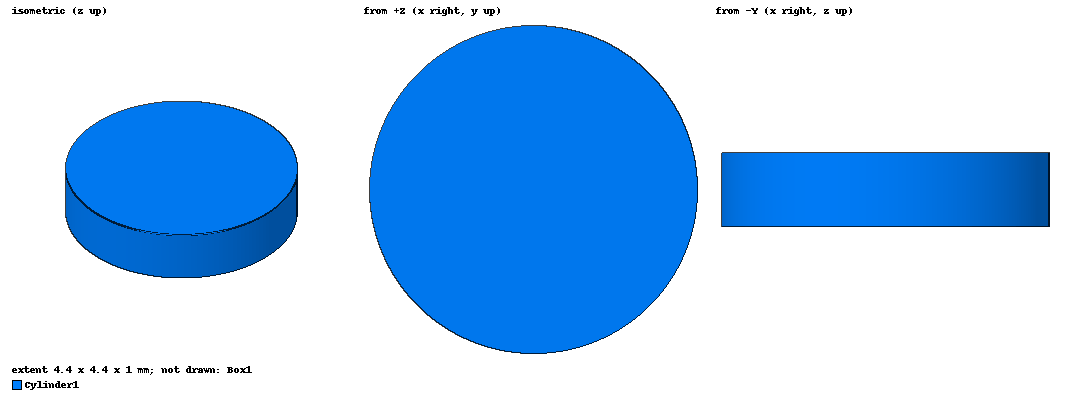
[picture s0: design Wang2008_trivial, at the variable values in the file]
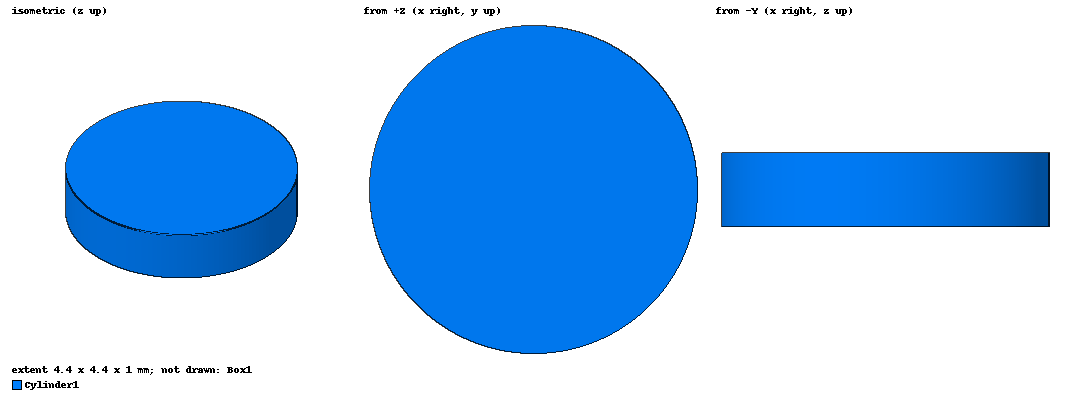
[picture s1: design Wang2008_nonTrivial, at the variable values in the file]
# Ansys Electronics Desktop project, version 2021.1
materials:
  YIG: permittivity=15 permeability{Component1=14 Component2="0 + 12.4i" Component3=0 Component4="0 - 12.4i" Component5=14 Component6=0 Component7=0 Component8=0 Component9=1}
  vacuum: permittivity=1
  YIG_noH: permittivity=15 permeability=1

design Wang2008_trivial (HFSS, Eigenmode, model units mm)
options: Save_Adaptive_support_files
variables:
  a = 20mm
  cylRad = 0.11*a
  h = a*0.05
  px = 0deg
  py = 0deg
  c = 300000000
  aa = a
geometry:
  Cylinder1 [YIG_noH] = cylinder(axis=Z, base_centre=(0mm, 0mm, -h/2), radius=cylRad, height=h)
  Box1 [vacuum] = box(corner=(-a/2, -a/2, -h/2), size=(a, a, h))
  Rectangle1 [non-model] = rectangle(corner=(-a/2, -a/2, 0mm), x_size=a, y_size=a)
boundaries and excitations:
  LatticePair1: Lattice Pair Faces=Box1.face(+x, -x) CoordSysVector{Box1.vertex(1 of 8) -> Box1.vertex(6 of 8)} PhaseDelay=InputPhaseDelay Phase=px
  LatticePair2: Lattice Pair Faces=Box1.face(-y, +y) CoordSysVector{Box1.vertex(4 of 8) -> Box1.vertex(7 of 8)} ReverseV PhaseDelay=InputPhaseDelay Phase=py
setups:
  Setup1: HfssEigen MinimumFrequency=6GHz NumModes=3 MaxDeltaFreq=1 ConvergeOnRealFreq=true MaximumPasses=15 MinimumPasses=4 MinimumConvergedPasses=2 PercentRefinement=50 BasisOrder=1
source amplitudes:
  #-10:1: 1 0deg
  #-10:2, #-10:3: 0 0deg
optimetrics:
  Full BZ: Parametric disabled Sim._Setups=[Setup1]
    sweep px: LIN -180deg 180deg 20deg
    sweep py: LIN -180deg 180deg 20deg
  Band Structure: Parametric Sim._Setups=[Setup1]
    sweep px: 0deg
    sweep py: 0deg
    table edits: add(20deg, 0deg) add(40deg, 0deg) add(60deg, 0deg) add(80deg, 0deg) add(100deg, 0deg) add(120deg, 0deg) add(140deg, 0deg) add(160deg, 0deg) add(180deg, 0deg) add(180deg, 0deg) add(180deg, 20deg) add(180deg, 40deg) add(180deg, 60deg) add(180deg, 80deg) add(180deg, 100deg) add(180deg, 120deg) add(180deg, 140deg) add(180deg, 160deg) add(180deg, 180deg) add(160deg, 160deg) add(140deg, 140deg) add(120deg, 120deg) add(100deg, 100deg) add(80deg, 80deg) add(60deg, 60deg) add(40deg, 40deg) add(20deg, 20deg)
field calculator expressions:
  Ez = Fundamental_Quantity(0) | ScalarZ | CmplxMag
  Hz = <Hx,Hy,Hz> | ScalarZ | CmplxMag
  Hx = <Hx,Hy,Hz> | ScalarX | CmplxMag
  Epsi = Fundamental_Quantity(0) | MaterialOp(Permittivity (epsi)) | ScalarZ | Fundamental_Quantity(0) | ScalarZ | / | 8.854187817e-12 | / | Real

design Wang2008_nonTrivial (HFSS, Eigenmode, model units mm)
options: Save_Adaptive_support_files
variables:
  a = 20mm
  cylRad = 0.11*a
  h = a*0.05
  px = 0deg
  py = 0deg
  c = 300000000
  aa = a
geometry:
  Cylinder1 [YIG] = cylinder(axis=Z, base_centre=(0mm, 0mm, -h/2), radius=cylRad, height=h)
  Box1 [vacuum] = box(corner=(-a/2, -a/2, -h/2), size=(a, a, h))
  Rectangle1 [non-model] = rectangle(corner=(-a/2, -a/2, 0mm), x_size=a, y_size=a)
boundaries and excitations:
  LatticePair1: Lattice Pair Faces=Box1.face(+x, -x) CoordSysVector{Box1.vertex(1 of 8) -> Box1.vertex(6 of 8)} PhaseDelay=InputPhaseDelay Phase=px
  LatticePair2: Lattice Pair Faces=Box1.face(-y, +y) CoordSysVector{Box1.vertex(4 of 8) -> Box1.vertex(7 of 8)} ReverseV PhaseDelay=InputPhaseDelay Phase=py
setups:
  Setup1: HfssEigen MinimumFrequency=6GHz NumModes=3 MaxDeltaFreq=1 ConvergeOnRealFreq=true MaximumPasses=15 MinimumPasses=4 MinimumConvergedPasses=2 PercentRefinement=50 BasisOrder=1
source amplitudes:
  #-10:1: 1 0deg
  #-10:2, #-10:3: 0 0deg
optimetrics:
  Full BZ: Parametric Sim._Setups=[Setup1]
    sweep px: LIN -180deg 180deg 20deg
    sweep py: LIN -180deg 180deg 20deg
  Band Structure: Parametric Sim._Setups=[Setup1]
    sweep px: 0deg
    sweep py: 0deg
    table edits: add(20deg, 0deg) add(40deg, 0deg) add(60deg, 0deg) add(80deg, 0deg) add(100deg, 0deg) add(120deg, 0deg) add(140deg, 0deg) add(160deg, 0deg) add(180deg, 0deg) add(180deg, 0deg) add(180deg, 20deg) add(180deg, 40deg) add(180deg, 60deg) add(180deg, 80deg) add(180deg, 100deg) add(180deg, 120deg) add(180deg, 140deg) add(180deg, 160deg) add(180deg, 180deg) add(160deg, 160deg) add(140deg, 140deg) add(120deg, 120deg) add(100deg, 100deg) add(80deg, 80deg) add(60deg, 60deg) add(40deg, 40deg) add(20deg, 20deg)
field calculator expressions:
  Ez = Fundamental_Quantity(0) | ScalarZ | CmplxMag
  Hz = <Hx,Hy,Hz> | ScalarZ | CmplxMag
  Hx = <Hx,Hy,Hz> | ScalarX | CmplxMag
  Epsi = Fundamental_Quantity(0) | MaterialOp(Permittivity (epsi)) | ScalarZ | Fundamental_Quantity(0) | ScalarZ | / | 8.854187817e-12 | / | Real
